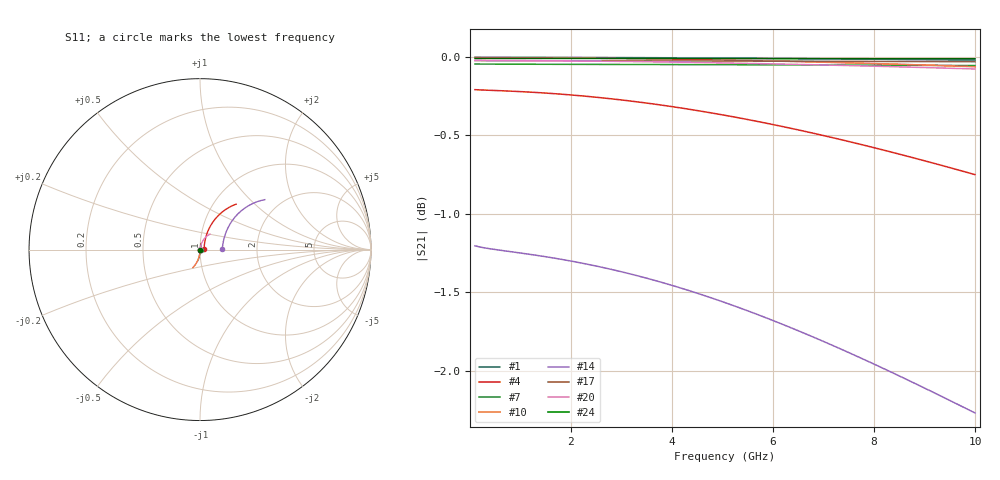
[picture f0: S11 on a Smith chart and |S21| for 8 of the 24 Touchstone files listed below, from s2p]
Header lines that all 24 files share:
# Hz S RI R 50.00
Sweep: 100 MHz to 10 GHz
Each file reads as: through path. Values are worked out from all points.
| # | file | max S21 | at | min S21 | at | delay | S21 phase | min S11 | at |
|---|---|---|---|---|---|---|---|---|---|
| 1 | 3001.s2p | 0.00 dB | 100 MHz | 0.0 dB | 10 GHz | 2.8 ps | -5 deg at 5.1 GHz | -63.4 dB | 100 MHz |
| 2 | 3002.s2p | -0.02 dB | 100 MHz | 0.0 dB | 10 GHz | - | -1 deg at 5.1 GHz | -51.1 dB | 100 MHz |
| 3 | 3004.s2p | -0.01 dB | 100 MHz | 0.0 dB | 10 GHz | - | -1 deg at 5.1 GHz | -60.0 dB | 100 MHz |
| 4 | 3005.s2p | -0.21 dB | 100 MHz | -0.8 dB | 10 GHz | 9.65 ps | -18 deg at 5.1 GHz | -32.4 dB | 100 MHz |
| 5 | 3006.s2p | 0.00 dB | 100 MHz | -0.1 dB | 10 GHz | 5.42 ps | -10 deg at 5.1 GHz | -54.5 dB | 100 MHz |
| 6 | 3008.s2p | -0.01 dB | 100 MHz | -0.1 dB | 10 GHz | 9.29 ps | -17 deg at 5.1 GHz | -54.2 dB | 100 MHz |
| 7 | 3010.s2p | -0.04 dB | 100 MHz | -0.1 dB | 10 GHz | - | -1 deg at 5.1 GHz | -45.7 dB | 100 MHz |
| 8 | 3012.s2p | -0.01 dB | 100 MHz | 0.0 dB | 10 GHz | 3.96 ps | -7 deg at 5.1 GHz | -58.1 dB | 100 MHz |
| 9 | 3013.s2p | -0.06 dB | 100 MHz | -0.1 dB | 10 GHz | - | -2 deg at 5.1 GHz | -42.5 dB | 100 MHz |
| 10 | 3015.s2p | 0.00 dB | 100 MHz | -0.1 dB | 10 GHz | 6.03 ps | -11 deg at 5.1 GHz | -58.2 dB | 100 MHz |
| 11 | 3016.s2p | -0.04 dB | 100 MHz | -0.1 dB | 10 GHz | 2.67 ps | -5 deg at 5.1 GHz | -47.4 dB | 100 MHz |
| 12 | 3018.s2p | -0.04 dB | 100 MHz | -0.1 dB | 10 GHz | 2.74 ps | -5 deg at 5.1 GHz | -45.5 dB | 100 MHz |
| 13 | 3020.s2p | -0.96 dB | 100 MHz | -1.6 dB | 10 GHz | 8.41 ps | -16 deg at 5.1 GHz | -19.6 dB | 100 MHz |
| 14 | 3021.s2p | -1.20 dB | 100 MHz | -2.3 dB | 10 GHz | 10.8 ps | -21 deg at 5.1 GHz | -17.8 dB | 100 MHz |
| 15 | 3025.s2p | -0.34 dB | 100 MHz | -1.2 dB | 10 GHz | 9.49 ps | -18 deg at 5.1 GHz | -28.3 dB | 100 MHz |
| 16 | 3026.s2p | -0.01 dB | 100 MHz | 0.0 dB | 10 GHz | 5.61 ps | -10 deg at 5.1 GHz | -55.9 dB | 100 MHz |
| 17 | 3029.s2p | -0.02 dB | 100 MHz | 0.0 dB | 10 GHz | - | -1 deg at 5.1 GHz | -51.5 dB | 100 MHz |
| 18 | 3030.s2p | 0.00 dB | 100 MHz | 0.0 dB | 10 GHz | 2.24 ps | -4 deg at 5.1 GHz | -66.1 dB | 100 MHz |
| 19 | 3031.s2p | -0.03 dB | 100 MHz | -0.2 dB | 10 GHz | 6.6 ps | -12 deg at 5.1 GHz | -48.1 dB | 100 MHz |
| 20 | 3032.s2p | -0.02 dB | 100 MHz | -0.1 dB | 10 GHz | 8.8 ps | -16 deg at 5.1 GHz | -51.2 dB | 100 MHz |
| 21 | 3033.s2p | -0.02 dB | 100 MHz | 0.0 dB | 10 GHz | 8.87 ps | -16 deg at 5.1 GHz | -54.4 dB | 100 MHz |
| 22 | 3036.s2p | 0.00 dB | 100 MHz | 0.0 dB | 10 GHz | - | -0 deg at 5.1 GHz | -76.8 dB | 100 MHz |
| 23 | 3038.s2p | -0.01 dB | 100 MHz | -0.3 dB | 10 GHz | 10.6 ps | -20 deg at 5.1 GHz | -51.0 dB | 100 MHz |
| 24 | 3039.s2p | -0.01 dB | 100 MHz | 0.0 dB | 10 GHz | 3.83 ps | -7 deg at 5.1 GHz | -59.9 dB | 100 MHz |
